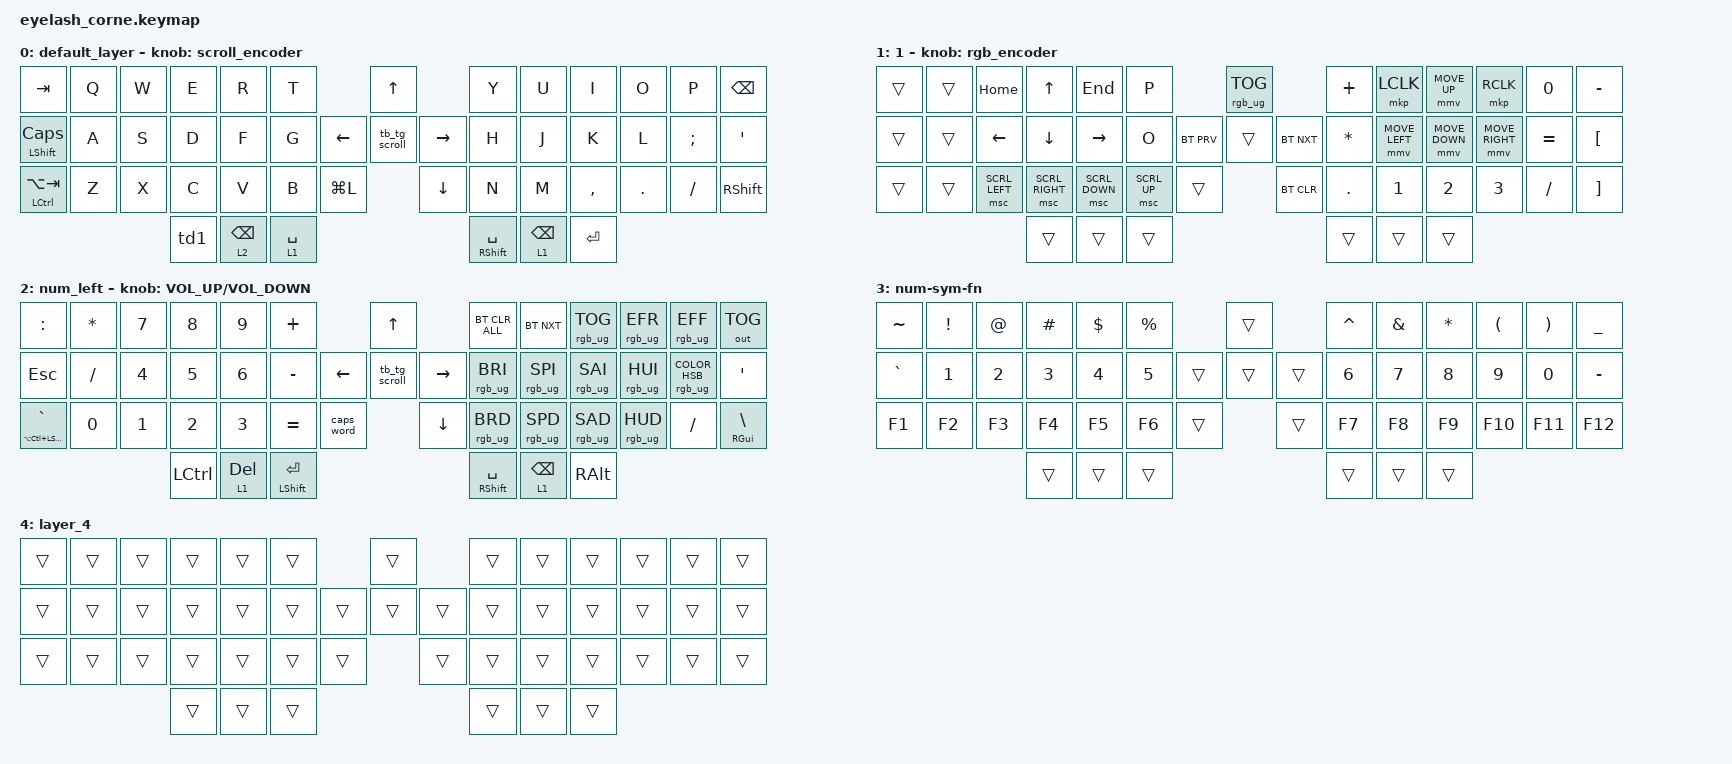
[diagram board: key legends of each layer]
#define ZMK_POINTING_DEFAULT_MOVE_VAL 1200  // 600
#define ZMK_POINTING_DEFAULT_SCRL_VAL 25   // 10

#include <input/processors.dtsi>
#include <zephyr/dt-bindings/input/input-event-codes.h>

#include <behaviors.dtsi>
#include <dt-bindings/zmk/bt.h>
#include <dt-bindings/zmk/keys.h>
#include <dt-bindings/zmk/outputs.h>
#include <dt-bindings/zmk/pointing.h>
#include <dt-bindings/zmk/rgb.h>
#include <interfaces/hid-trackball.dtsi>

&mmv_input_listener { input-processors = <&zip_xy_scaler 2 1>; };

&msc_input_listener { input-processors = <&zip_scroll_scaler 2 1>; };

&msc {
    acceleration-exponent = <1>;      // 0
    time-to-max-speed-ms = <100>;       // 300
    delay-ms = <0>;                   // 0
};

&mmv {
    time-to-max-speed-ms = <500>;
    acceleration-exponent = <1>;
    trigger-period-ms = <16>;
};

/ {
    behaviors {
        td0: td0 {
            compatible = "zmk,behavior-tap-dance";
            display-name = "Shift/Caps Lock Tap Dance";
            #binding-cells = <0>;
            bindings = <&kp LEFT_CONTROL>, <&caps_word>;

            label = "LCTRL - CAPSWORD";
        };

        td1: td1 {
            compatible = "zmk,behavior-tap-dance";
            display-name = "Shift/Caps Lock Tap Dance";
            #binding-cells = <0>;
            bindings = <&kp LEFT_ALT>, <&kp ENTER>, <&kp LC(LS(ENTER))>;

            label = "alt-enter-ctrlshenter";
        };

        td2: td2 {
            compatible = "zmk,behavior-tap-dance";
            display-name = "Shift/Caps Lock Tap Dance";
            #binding-cells = <0>;
            bindings = <&kp LEFT_GUI>, <&kp LG(C)>;

            label = "gui-copilot";
        };
    };

    rgb_encoder: rgb_encoder {
        compatible = "zmk,behavior-sensor-rotate";
        #sensor-binding-cells = <0>;
        bindings = <&rgb_ug RGB_BRI>, <&rgb_ug RGB_BRD>;
    };

    scroll_encoder: scroll_encoder {
        compatible = "zmk,behavior-sensor-rotate";
        #sensor-binding-cells = <0>;
        bindings = <&msc SCRL_DOWN>, <&msc SCRL_UP>;

        tap-ms = <100>;
    };

    combos {
        compatible = "zmk,combos";

        escape {
            bindings = <&kp ESC>;
            key-positions = <0 1>;
        };

        redo {
            bindings = <&kp LC(Y)>;
            key-positions = <29 30>;
        };

        gui-copilot {
            bindings = <&td2>;
            key-positions = <42 43>;
        };

        ctrltab {
            bindings = <&kp LC(TAB)>;
            key-positions = <2 3 1>;
        };

        ctrshtab {
            bindings = <&kp LC(LS(TAB))>;
            key-positions = <1 2>;
        };

        left_monitor {
            bindings = <&kp LG(LS(LEFT))>;
            key-positions = <13 14 15>;
        };

        right_monitor {
            bindings = <&kp LG(LS(RIGHT))>;
            key-positions = <16 17 18>;
        };

        gui_up {
            bindings = <&kp LG(UP_ARROW)>;
            key-positions = <2 3>;
        };

        gui_down {
            bindings = <&kp LG(DOWN)>;
            key-positions = <15 16>;
        };

        gui_left {
            bindings = <&kp LG(LEFT_ARROW)>;
            key-positions = <15 14>;
        };

        gui_right {
            bindings = <&kp LG(RIGHT)>;
            key-positions = <17 16>;
        };

        snipping_tool {
            bindings = <&kp LG(LS(S))>;
            key-positions = <17 14>;
        };

        notifications {
            bindings = <&kp LG(N)>;
            key-positions = <17 13>;
        };

        Markasread {
            bindings = <&kp LC(Q)>;
            key-positions = <17 4>;
        };

        ALTF4 {
            bindings = <&kp LA(F4)>;
            key-positions = <17 2>;
        };
    };

    macros {
        new_macro: new_macro {
            compatible = "zmk,behavior-macro";
            #binding-cells = <0>;
            bindings = <&none &kp LS(F) &kp O &kp R &kp SPACE &kp LS(R) &kp LS(O) &kp SPACE &kp I &kp S &kp S &kp U &kp A &kp N &kp C &kp E &kp SPACE &kp P &kp L &kp E &kp A &kp S &kp E &kp COMMA &kp SPACE &kp K &kp I &kp N &kp D &kp L &kp Y &kp SPACE &kp R &kp E &kp F &kp E &kp R &kp SPACE &kp T &kp O &kp SPACE &kp T &kp H &kp E &kp SPACE &kp L &kp I &kp S &kp T &kp SPACE &kp O &kp F &kp SPACE &kp R &kp E &kp Q &kp U &kp I &kp R &kp E &kp D &kp SPACE &kp M &kp A &kp T &kp E &kp R &kp I &kp A &kp L &kp S &kp SPACE &kp P &kp R &kp O &kp V &kp I &kp D &kp E &kp D &kp SPACE &kp B &kp E &kp L &kp O &kp W &kp COMMA>;
            label = "ForRO";
        };

        new_macro1: new_macro1 {
            compatible = "zmk,behavior-macro";
            #binding-cells = <0>;
            bindings = <&none &kp LS(A) &kp C &kp K &kp N &kp O &kp W &kp L &kp E &kp D &kp G &kp E &kp D &kp SPACE &kp O &kp N &kp SPACE &kp T &kp H &kp I &kp S &kp DOT &kp SPACE &kp LS(W) &kp E &kp SPACE &kp W &kp I &kp L &kp L &kp SPACE &kp L &kp I &kp N &kp E &kp SPACE &kp U &kp P &kp SPACE &kp D &kp I &kp S &kp P &kp A &kp T &kp C &kp H &kp SPACE &kp O &kp N &kp C &kp E &kp SPACE &kp W &kp I &kp T &kp H &kp SPACE &kp A &kp V &kp A &kp I &kp L &kp A &kp B &kp L &kp E &kp SPACE &kp LS(F) &kp LS(R) &kp DOT>;
            label = "FRlineup";
        };

        new_macro2: new_macro2 {
            compatible = "zmk,behavior-macro";
            #binding-cells = <0>;
            bindings = <&none &kp LS(E) &kp N &kp D &kp O &kp R &kp S &kp I &kp N &kp G &kp SPACE &kp T &kp H &kp I &kp S &kp SPACE &kp P &kp R &kp O &kp J &kp E &kp C &kp T &kp SPACE &kp F &kp O &kp R &kp SPACE &kp LS(P) &kp N0 &kp SPACE &kp H &kp A &kp N &kp D &kp L &kp I &kp N &kp G &kp SPACE &kp P &kp L &kp E &kp A &kp S &kp E &kp DOT>;
            label = "P0";
        };

        new_macro3: new_macro3 {
            compatible = "zmk,behavior-macro";
            #binding-cells = <0>;
            bindings = <&none &kp LS(E) &kp N &kp D &kp O &kp R &kp S &kp I &kp N &kp G &kp SPACE &kp T &kp H &kp I &kp S &kp SPACE &kp P &kp R &kp O &kp J &kp E &kp C &kp T &kp SPACE &kp F &kp O &kp R &kp SPACE &kp LS(P) &kp N1 &kp SPACE &kp H &kp A &kp N &kp D &kp L &kp I &kp N &kp G &kp SPACE &kp P &kp L &kp E &kp A &kp S &kp E &kp DOT>;
            label = "P1";
        };

        new_macro4: new_macro4 {
            compatible = "zmk,behavior-macro";
            #binding-cells = <0>;
            bindings = <&none &kp LS(S) &kp H &kp A &kp R &kp I &kp N &kp G &kp SPACE &kp C &kp O &kp M &kp P &kp L &kp E &kp T &kp I &kp O &kp N &kp SPACE &kp R &kp E &kp M &kp A &kp R &kp K &kp S &kp SPACE &kp F &kp R &kp O &kp M &kp SPACE &kp LS(F) &kp LS(R) &kp SPACE &kp B &kp E &kp L &kp O &kp W &kp COMMA &kp RET &kp RET &kp LS(A) &kp C &kp T &kp I &kp O &kp N &kp SPACE &kp LS(T) &kp A &kp K &kp E &kp N &kp COLON &kp SPACE &kp RET &kp RET &kp LS(M) &kp A &kp T &kp E &kp R &kp I &kp A &kp L &kp S &kp SPACE &kp LS(U) &kp S &kp E &kp D &kp COLON &kp RET &kp RET &kp LS(F) &kp A &kp C &kp I &kp L &kp I &kp T &kp Y &kp SPACE &kp LS(U) &kp S &kp E &kp D &kp COLON &kp RET &kp RET &kp LS(A) &kp S &kp S &kp I &kp G &kp N &kp E &kp D &kp SPACE &kp LS(F) &kp LS(R) &kp COLON>;
            label = "FRcomplete";
        };

        new_macro5: new_macro5 {
            compatible = "zmk,behavior-macro";
            #binding-cells = <0>;
            bindings = <&none &kp N1 &kp X &kp SPACE &kp LS(P) &kp R &kp O &kp L &kp I &kp N &kp K &kp SPACE &kp LS(M) &kp O &kp D &kp E &kp M &kp RET &kp N1 &kp X &kp SPACE &kp LS(T) &kp E &kp L &kp S &kp E &kp T &kp SPACE &kp RET &kp N1 &kp X &kp SPACE &kp LS(C) &kp LS(B) &kp LS(K)>;
            label = "copperbundlemats";
        };

        new_macro6: new_macro6 {
            compatible = "zmk,behavior-macro";
            #binding-cells = <0>;
            bindings = <&none &kp N1 &kp X &kp SPACE &kp LS(O) &kp LS(N) &kp LS(U) &kp SPACE &kp M &kp O &kp D &kp E &kp M &kp RET &kp N1 &kp X &kp SPACE &kp LS(T) &kp E &kp L &kp S &kp E &kp T &kp SPACE &kp RET &kp N1 &kp X &kp SPACE &kp LS(I) &kp LS(O) &kp LS(O) &kp RET &kp N1 &kp X &kp SPACE &kp P &kp A &kp T &kp C &kp H &kp SPACE &kp C &kp O &kp R &kp D &kp SPACE &kp RET &kp N4 &kp X &kp SPACE &kp LS(S) &kp LS(C) &kp SPACE &kp C &kp O &kp N &kp N &kp E &kp C &kp T &kp O &kp R>;
            label = "FTTXbundlemats";
        };

        new_macro7: new_macro7 {
            compatible = "zmk,behavior-macro";
            #binding-cells = <0>;
            bindings = <&none &kp LS(M) &kp LS(O) &kp LS(A) &kp SPACE &kp LS(F) &kp LS(T) &kp LS(T) &kp LS(X) &kp RET &kp N1 &kp X &kp SPACE &kp LS(O) &kp LS(N) &kp LS(U) &kp SPACE &kp M &kp O &kp D &kp E &kp M &kp RET &kp N1 &kp X &kp SPACE &kp LS(T) &kp E &kp L &kp S &kp E &kp T &kp SPACE &kp RET &kp N1 &kp X &kp SPACE &kp LS(I) &kp LS(O) &kp LS(O) &kp RET &kp N1 &kp X &kp SPACE &kp LS(S) &kp LS(C) &kp MINUS &kp LS(S) &kp LS(C) &kp P &kp A &kp T &kp C &kp H &kp SPACE &kp C &kp O &kp R &kp D &kp SPACE &kp RET &kp N1 &kp X &kp SPACE &kp LS(L) &kp LS(C) &kp MINUS &kp LS(S) &kp LS(C) &kp P &kp A &kp T &kp C &kp H &kp SPACE &kp C &kp O &kp R &kp D &kp SPACE &kp RET &kp N3 &kp X &kp SPACE &kp LS(S) &kp LS(C) &kp SPACE &kp C &kp O &kp N &kp N &kp E &kp C &kp T &kp O &kp R>;
            label = "MOAFTTXbundle";
        };

        new_macro8: new_macro8 {
            compatible = "zmk,behavior-macro";
            #binding-cells = <0>;
            bindings = <&none &kp LS(A) &kp C &kp K &kp N &kp O &kp W &kp L &kp E &kp D &kp G &kp E &kp D &kp SPACE &kp O &kp N &kp SPACE &kp T &kp H &kp I &kp S &kp COMMA &kp SPACE &kp LS(P) &kp L &kp E &kp A &kp S &kp E &kp SPACE &kp S &kp E &kp E &kp SPACE &kp A &kp T &kp T &kp A &kp C &kp H &kp E &kp D &kp SPACE &kp F &kp I &kp L &kp E &kp SPACE &kp F &kp O &kp R &kp SPACE &kp P &kp R &kp O &kp C &kp E &kp S &kp S &kp I &kp N &kp G &kp SPACE &kp O &kp F &kp SPACE &kp W &kp O &kp R &kp K &kp SPACE &kp P &kp E &kp R &kp M &kp I &kp T &kp DOT>;
            label = "Forpermit";
        };

        new_macro9: new_macro9 {
            compatible = "zmk,behavior-macro";
            #binding-cells = <0>;
            bindings = <&none &kp LS(P) &kp L &kp E &kp A &kp S &kp E &kp SPACE &kp S &kp E &kp E &kp SPACE &kp O &kp F &kp F &kp S &kp E &kp T &kp SPACE &kp C &kp O &kp N &kp S &kp O &kp L &kp I &kp D &kp A &kp T &kp I &kp O &kp N &kp SPACE &kp B &kp E &kp L &kp O &kp W &kp COMMA>;
            label = "Offset";
        };

        new_macro10: new_macro10 {
            compatible = "zmk,behavior-macro";
            #binding-cells = <0>;
            bindings = <&none &kp LS(P) &kp L &kp E &kp A &kp S &kp E &kp SPACE &kp S &kp E &kp E &kp SPACE &kp LS(O) &kp LS(T) &kp SPACE &kp C &kp O &kp N &kp S &kp O &kp L &kp I &kp D &kp A &kp T &kp I &kp O &kp N &kp SPACE &kp B &kp E &kp L &kp O &kp W &kp COMMA>;
            label = "OT";
        };

        new_macro11: new_macro11 {
            compatible = "zmk,behavior-macro";
            #binding-cells = <0>;
            bindings = <&none &kp LS(S) &kp H &kp A &kp R &kp I &kp N &kp G &kp SPACE &kp R &kp E &kp M &kp A &kp R &kp K &kp S &kp SPACE &kp F &kp R &kp O &kp M &kp SPACE &kp LS(F) &kp LS(R) &kp SPACE &kp B &kp E &kp L &kp O &kp W &kp COMMA &kp RET &kp RET &kp LS(A) &kp C &kp T &kp I &kp O &kp N &kp SPACE &kp LS(T) &kp A &kp K &kp E &kp N &kp COLON &kp SPACE &kp RET &kp RET &kp LS(A) &kp S &kp S &kp I &kp G &kp N &kp E &kp D &kp SPACE &kp LS(F) &kp LS(R) &kp COLON>;
            label = "FRremarks";
        };

        new_macro12: new_macro12 {
            compatible = "zmk,behavior-macro";
            #binding-cells = <0>;
            bindings = <&none &kp LS(A) &kp C &kp K &kp N &kp O &kp W &kp L &kp E &kp D &kp G &kp E &kp D &kp SPACE &kp O &kp N &kp SPACE &kp T &kp H &kp I &kp S &kp DOT &kp SPACE &kp LS(K) &kp I &kp N &kp D &kp L &kp Y &kp SPACE &kp R &kp E &kp F &kp E &kp R &kp SPACE &kp T &kp O &kp SPACE &kp A &kp T &kp T &kp E &kp N &kp D &kp I &kp N &kp G &kp SPACE &kp LS(F) &kp LS(R) &kp SPACE &kp B &kp E &kp L &kp O &kp W &kp COMMA>;
            label = "attendingFR";
        };

        new_macro13: new_macro13 {
            compatible = "zmk,behavior-macro";
            #binding-cells = <0>;
            bindings = <&none &kp LC(F) &kp R &kp E &kp F &kp ENTER>;
            label = "NEW_MACRO13";
        };

        new_macro14: new_macro14 {
            compatible = "zmk,behavior-macro";
            #binding-cells = <0>;
            bindings = <&none &kp LS(S) &kp P &kp E &kp C &kp I &kp A &kp L>;
            label = "Special";
        };

        new_macro15: new_macro15 {
            compatible = "zmk,behavior-macro";
            #binding-cells = <0>;
            bindings = <&none &kp LS(F) &kp O &kp R &kp SPACE &kp A &kp L &kp L &kp O &kp C &kp A &kp T &kp I &kp O &kp N &kp SPACE &kp O &kp F &kp SPACE &kp N &kp E &kp E &kp D &kp E &kp D &kp SPACE &kp M &kp A &kp T &kp E &kp R &kp I &kp A &kp L &kp S &kp SPACE &kp B &kp E &kp L &kp O &kp W &kp COMMA &kp SPACE &kp P &kp L &kp E &kp A &kp S &kp E &kp DOT>;
            label = "Matsallocation";
        };
    };

    keymap {
        compatible = "zmk,keymap";

        default_layer {
            display-name = "default_layer";
            bindings = <
&kp TAB                   &kp Q  &kp W  &kp E  &kp R            &kp T                               &kp UP                    &kp Y                  &kp U            &kp I      &kp O    &kp P     &kp BACKSPACE
&mt LSHFT CAPS            &kp A  &kp S  &kp D  &kp F            &kp G                     &kp LEFT  &tb_tg_scroll  &kp RIGHT  &kp H                  &kp J            &kp K      &kp L    &kp SEMI  &kp SQT
&mt LEFT_CONTROL LA(TAB)  &kp Z  &kp X  &kp C  &kp V            &kp B        &kp LG(L)              &kp DOWN                  &kp N                  &kp M            &kp COMMA  &kp DOT  &kp FSLH  &kp RIGHT_SHIFT
                                        &td1   &lt 2 BACKSPACE  &lt 1 SPACE                                                   &mt RIGHT_SHIFT SPACE  &lt 1 BACKSPACE  &kp ENTER
            >;

            sensor-bindings = <&scroll_encoder>;
        };

        NAV {
            bindings = <
&trans  &trans  &kp HOME        &kp UP_ARROW     &kp END         &kp P                               &rgb_ug RGB_TOG              &kp PLUS      &mkp LCLK       &mmv MOVE_UP    &mkp RCLK        &kp N0     &kp MINUS
&trans  &trans  &kp LEFT        &kp DOWN         &kp RIGHT       &kp O                   &bt BT_PRV  &trans           &bt BT_NXT  &kp ASTERISK  &mmv MOVE_LEFT  &mmv MOVE_DOWN  &mmv MOVE_RIGHT  &kp EQUAL  &kp LBKT
&trans  &trans  &msc SCRL_LEFT  &msc SCRL_RIGHT  &msc SCRL_DOWN  &msc SCRL_UP  &trans                &bt BT_CLR                   &kp PERIOD    &kp N1          &kp N2          &kp N3           &kp FSLH   &kp RBKT
                                &trans           &trans          &trans                                                           &trans        &trans          &trans
            >;

            sensor-bindings = <&rgb_encoder>;
            label = "1";
        };

        num_left {
            display-name = "num_left";
            bindings = <
&kp COLON                     &kp ASTERISK  &kp N7  &kp N8     &kp N9        &kp PLUS                                      &kp UP                    &bt BT_CLR_ALL         &bt BT_NXT       &rgb_ug RGB_TOG  &rgb_ug RGB_EFR  &rgb_ug RGB_EFF                 &out OUT_TOG
&kp ESCAPE                    &kp SLASH     &kp N4  &kp N5     &kp N6        &kp MINUS                           &kp LEFT  &tb_tg_scroll  &kp RIGHT  &rgb_ug RGB_BRI        &rgb_ug RGB_SPI  &rgb_ug RGB_SAI  &rgb_ug RGB_HUI  &rgb_ug RGB_COLOR_HSB(0,88,50)  &kp SQT
&mt LA(LC(LEFT_SHIFT)) GRAVE  &kp NUMBER_0  &kp N1  &kp N2     &kp N3        &kp EQUAL             &caps_word              &kp DOWN                  &rgb_ug RGB_BRD        &rgb_ug RGB_SPD  &rgb_ug RGB_SAD  &rgb_ug RGB_HUD  &kp FSLH                        &mt RIGHT_GUI BACKSLASH
                                                    &kp LCTRL  &lt 1 DELETE  &mt LEFT_SHIFT ENTER                                                    &mt RIGHT_SHIFT SPACE  &lt 1 BACKSPACE  &kp RIGHT_ALT
            >;

            sensor-bindings = <&inc_dec_kp C_VOLUME_UP C_VOLUME_DOWN>;
            label = "num_left";
        };

        num-sym-fn {
            bindings = <
&kp TILDE  &kp EXCLAMATION  &kp AT_SIGN  &kp HASH  &kp DOLLAR  &kp PERCENT                    &trans          &kp CARET  &kp AMPERSAND  &kp ASTERISK  &kp LEFT_PARENTHESIS  &kp RIGHT_PARENTHESIS  &kp UNDERSCORE
&kp GRAVE  &kp N1           &kp N2       &kp N3    &kp N4      &kp N5                 &trans  &trans  &trans  &kp N6     &kp N7         &kp N8        &kp N9                &kp N0                 &kp MINUS
&kp F1     &kp F2           &kp F3       &kp F4    &kp F5      &kp F6       &trans            &trans          &kp F7     &kp F8         &kp F9        &kp F10               &kp F11                &kp F12
                                         &trans    &trans      &trans                                         &trans     &trans         &trans
            >;

            label = "num-sym-fn";
        };

        layer_4 {
            bindings = <
&trans  &trans  &trans  &trans  &trans  &trans                    &trans          &trans  &trans  &trans  &trans  &trans  &trans
&trans  &trans  &trans  &trans  &trans  &trans            &trans  &trans  &trans  &trans  &trans  &trans  &trans  &trans  &trans
&trans  &trans  &trans  &trans  &trans  &trans  &trans            &trans          &trans  &trans  &trans  &trans  &trans  &trans
                        &trans  &trans  &trans                                    &trans  &trans  &trans
            >;
        };
    };
};
